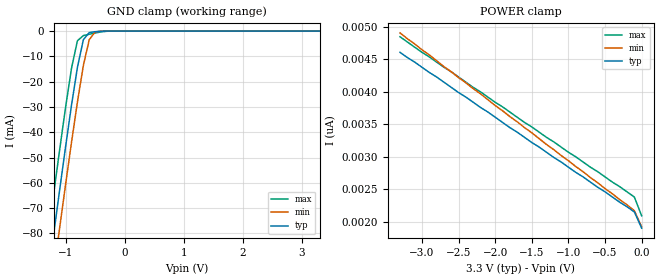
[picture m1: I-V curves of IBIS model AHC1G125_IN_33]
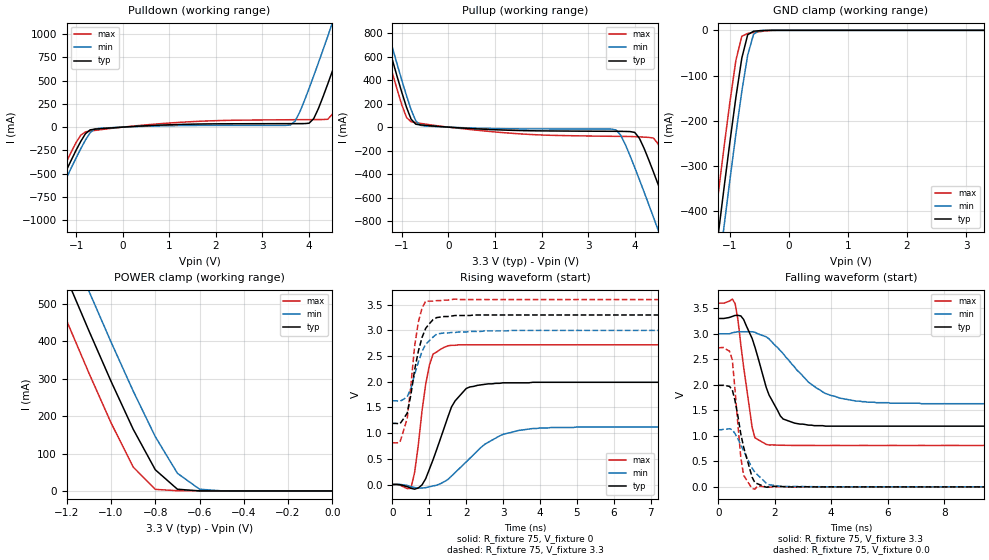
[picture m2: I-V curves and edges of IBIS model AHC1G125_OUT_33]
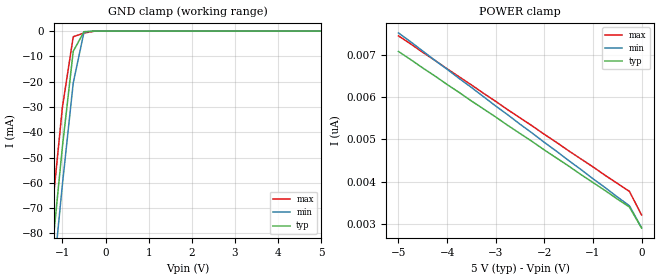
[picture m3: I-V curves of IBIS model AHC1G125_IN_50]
| TEXAS INSTRUMENTS INCORPORATED
| Standard Linear and Logic Group
| IBIS Model of SN74AHC1G125
| SINGLE BUS BUFFER GATE WITH 3-STATE OUTPUTS
| SOT 5-pin (DCK) and SOT 5-pin (DBV) Package
[IBIS Ver]   3.2
[Comment Char]  |_char
[File Name]   ahc1g125.ibs
[File Rev]   2.0 H_die
[Date]   May 24, 2000
[Source]   Data created from HSPICE simulations at TI-SLL.
[Notes]   The following is an IBIS list for the AHC1G125.
|   Please contact sllibis@ti.com with questions and
|   comments concerning SLL IBIS models.
[Disclaimer] Property of Texas Instruments Incorporated.  Unauthorized
                reproduction and/or distribution is strictly prohibited.
                This product is protected under copyright law.
                Created 2000, (C) Copyright 2000, Texas Instruments Inc.,
                All Rights Reserved.
                UNLESS THERE IS A SIGNED, WRITTEN AGREEMENT TO THE
                CONTRARY, TEXAS INSTRUMENTS () IS PROVIDING THE IBIS
                MODELS  AND WITHOUT ANY WARRANTY, EXPRESSED OR
                IMPLIED.  TI assumes no liability for:
                 1) the accuracy of the IBIS models provided to your
                    company;
                 2) the proper functioning of these IBIS Models in your
                    design or for any resulting applications; or
                 3) infringement of patents, copyrights or intellectual
                    property rights resulting from your use of these IBIS
                    models.
                TI provides IBIS Models as a service to our customers.
                You and your company shall not distribute, sell or give
                these models to anyone else without prior written
                permission from TI.
                TI reserves the right to make changes to our products or
                to discontinue any semiconductor product or service
                without notice, and advises our customers to obtain the
                latest version of relevant information to verify, before
                placing orders, that the information being relied on is
                current.
                Please be aware that your receipt and use of the IBIS
                information provided shall serve as acceptance of these
                terms and conditions.  If you do not accept these terms,
                you should return or destroy the IBIS models and any
                other accompanying information immediately.
|   Component AHC1G125_DCK
[Component]   AHC1G125_DCK
[Manufacturer]  Texas Instruments, Inc.
[Package]
|   typ   min   max
R_pkg   0.020   0.017   0.025
L_pkg   0.998nH   0.881nH   1.069nH
C_pkg   0.146pF   0.118pF   0.205pF
[Pin]   signal_name   model_name   R_pin   L_pin   C_pin
1   OE_NOT   AHC1G125_IN   0.019   1.069nH   0.162pF
2   A   AHC1G125_IN   0.018   0.881nH   0.121pF
3   GND   GND   0.017   1.031nH   0.205pF
4   Y   AHC1G125_OUT   0.020   0.960nH   0.124pF
5   VCC   POWER   0.025   1.049nH   0.118pF
|   Component AHC1G125_DBV
[Component]   AHC1G125_DBV
[Manufacturer]  Texas Instruments, Inc.
[Package]
|   typ   min   max
R_pkg   0.025   0.021   0.029
L_pkg   1.529nH   1.312nH   1.906nH
C_pkg   0.156pF   0.110pF   0.240pF
[Pin]   signal_name   model_name   R_pin   L_pin   C_pin
1   OE_NOT   AHC1G125_IN   0.021   1.511nH   0.144pF
2   A   AHC1G125_IN   0.023   1.312nH   0.138pF
3   GND   GND   0.029   1.906nH   0.240pF
4   Y   AHC1G125_OUT   0.026   1.541nH   0.150pF
5   VCC   POWER   0.025   1.374nH   0.110pF
[Model Selector]   AHC1G125_IN
AHC1G125_IN_33   3.3-V Vcc Input Model
AHC1G125_IN_50   5.0-V Vcc Input Model
[Model Selector]   AHC1G125_OUT
AHC1G125_OUT_33   3.3-V Vcc Output Model
AHC1G125_OUT_50   5.0-V Vcc Output Model
| Models and submodels in the file (4): AHC1G125_IN_33 (Input), AHC1G125_OUT_33 (3-state), AHC1G125_IN_50 (Input), AHC1G125_OUT_50 (3-state)
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|   Model AHC1G125_IN_33
[Model]   AHC1G125_IN_33
Model_type  Input
Polarity   Inverting
Vinl = 0.99
Vinh = 2.31
| variable   typ   min   max
C_comp   1.28pf   0.96pf   1.60pf
[Temperature Range]   25   85   -40
[Voltage Range]   3.3   3.0   3.6
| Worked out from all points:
|   GND clamp passes 1 mA (typ) near -0.61 V on its own axis
[GND Clamp]
|   Voltage   I(typ)   I(min)   I(max)
-3.3V     -460mA     -475mA     -445mA
-1.3V     -97.5mA    -113mA     -81.5mA
-1.2V     -79.9mA    -95mA      -63.9mA
-1.1V     -62.6mA    -77.6mA    -46.7mA
-1V       -45.6mA    -60.5mA    -30mA
-900mV    -29.2mA    -43.9mA    -14.6mA
-800mV    -14.3mA    -28mA      -3.81mA
-700mV    -3.42mA    -13.6mA    -1.78mA
-600mV    -581uA     -3.4mA     -1.25mA
-500mV    -233uA     -353uA     -759uA
-400mV    -58.1uA    -21.9uA    -324uA
3.3V      1.9nA      2.34nA     1.69nA
[POWER Clamp]
|   Voltage   I(typ)   I(min)   I(max)
-3.3V     4.61nA     4.91nA     4.85nA
-3V       4.38nA     4.65nA     4.61nA
-100mV    2.15nA     2.17nA     2.38nA
0V        1.9nA      1.92nA     2.09nA
|   Model AHC1G125_OUT_33
[Model]   AHC1G125_OUT_33
Model_type  3-state
Polarity   Non-Inverting
Enable   Active-Low
Vmeas = 1.65v
Cref = 15pf
| variable   typ   min   max
C_comp   4.1pf   3.075pf   5.125pf
[Temperature Range]   25   85   -40
[Voltage Range]   3.3   3.0   3.6
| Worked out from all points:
|   slope of the pulldown table from 0 to 0.495 V, typ, clamps not added: 34.2 ohm
|   slope of the pullup table from 0 to 0.495 V, typ, clamps not added: 40.6 ohm
|   GND clamp passes 1 mA (typ) near -0.51 V on its own axis
|   POWER clamp passes 1 mA (typ) near -0.62 V on its own axis
|   rising waveform, R_fixture 75, V_fixture 0: 20-80 % time 614ps typ, 1.09ns min, 303ps max; typ from 0 V to 1.99 V
|   falling waveform, R_fixture 75, V_fixture 3.3: 20-80 % time 769ps typ, 1.48ns min, 403ps max; typ from 3.3 V to 1.19 V
|   rising waveform, R_fixture 75, V_fixture 3.3: 20-80 % time 348ps typ, 385ps min, 263ps max; typ from 1.19 V to 3.3 V
|   falling waveform, R_fixture 75, V_fixture 0.0: 20-80 % time 465ps typ, 680ps min, 260ps max; typ from 1.99 V to 0 V
[Pulldown]
|   Voltage   I(typ)   I(min)   I(max)
-3.3V     -2.76A     -2.84A     -2.68A
-1.9V     -1.21A     -1.29A     -1.12A
-1.7V     -992mA     -1.08A     -904mA
-1V       -248mA     -331mA     -165mA
-700mV    -29.6mA    -61mA      -42.3mA
3.6V      37.5mA     22.9mA     79.4mA
4.1V      91.1mA     550mA      80.8mA
4.4V      461mA      972mA      84.5mA
4.5V      600mA      1.12A      137mA
4.8V      1.03A      1.55A      524mA
5.2V      1.61A      2.13A      1.1A
6.6V      3.67A      4.2A       3.16A
[Pullup]
|   Voltage   I(typ)   I(min)   I(max)
-3.3V     3.64A      3.74A      3.54A
-1.5V     996mA      1.1A       885mA
-1.4V     852mA      957mA      741mA
-1.3V     710mA      815mA      598mA
-900mV    170mA      269mA      82.8mA
-600mV    19.1mA     15.4mA     32.3mA
3.6V      -35.5mA    -24.1mA    -78.3mA
4V        -44.9mA    -344mA     -81mA
4.4V      -380mA     -765mA     -92.5mA
4.8V      -806mA     -1.2A      -435mA
5.2V      -1.24A     -1.64A     -866mA
6.6V      -2.79A     -3.19A     -2.42A
[GND Clamp]
|   Voltage   I(typ)   I(min)   I(max)
-3.3V     -2.76A     -2.84A     -2.68A
-1.3V     -558mA     -643mA     -468mA
-1.2V     -452mA     -537mA     -362mA
-1.1V     -347mA     -432mA     -257mA
-1V       -245mA     -329mA     -157mA
-900mV    -148mA     -229mA     -66.2mA
-800mV    -61.5mA    -135mA     -13.1mA
-700mV    -9.75mA    -54.6mA    -6.84mA
-600mV    -1.91mA    -8.48mA    -4.82mA
-500mV    -878uA     -589uA     -2.99mA
-200mV    -920pA     -24.7nA    -5.31uA
3.3V      1.32nA     308nA      1.26nA
[POWER Clamp]
|   Voltage   I(typ)   I(min)   I(max)
-3.3V     3.64A      3.74A      3.54A
-1.3V     708mA      814mA      595mA
-1.2V     567mA      673mA      454mA
-1.1V     428mA      534mA      315mA
-1V       293mA      398mA      182mA
-900mV    165mA      267mA      63.9mA
-800mV    56.5mA     145mA      4.16mA
-700mV    4.52mA     47.1mA     563uA
-600mV    121uA      4.61mA     211uA
-500mV    2.09uA     199uA      42uA
0V        1.32nA     1.31nA     1.44nA
[Ramp]
| variable   typ   min   max
dV/dt_r   1.20E+00/6.25E-10   6.91E-01/1.11E-09   1.66E+00/3.26E-10
dV/dt_f   1.31E+00/7.20E-10   8.46E-01/1.50E-09   1.72E+00/3.88E-10
R_load = 75
[Rising Waveform]
R_fixture = 75
V_fixture = 0
|   Time   V(typ)   V(min)   V(max)
0s        0V         0V         0V
500ps     -73.1mV    -40.9mV    -73mV
600ps     -90.3mV    -59.7mV    235mV
800ps     -8.39mV    -68.3mV    1.43V
1ns       298mV      -44.4mV    2.32V
1.5ns     1.31V      96mV       2.7V
2.1ns     1.9V       512mV      2.72V
3ns       1.98V      978mV      2.72V
4ns       1.99V      1.1V       2.72V
25ns      1.99V      1.12V      2.72V
[Falling Waveform]
R_fixture = 75
V_fixture = 3.3
V_fixture_min = 3.0
V_fixture_max = 3.6
|   Time   V(typ)   V(min)   V(max)
0s        3.3V       3V         3.6V
600ps     3.36V      3.03V      3.59V
1.2ns     2.91V      3.04V      1.17V
1.3ns     2.74V      3.03V      962mV
1.8ns     1.8V       2.9V       820mV
2.2ns     1.39V      2.67V      816mV
2.7ns     1.25V      2.35V      813mV
3.7ns     1.2V       1.86V      812mV
4.9ns     1.19V      1.68V      812mV
25ns      1.19V      1.63V      812mV
[Rising Waveform]
R_fixture = 75
V_fixture = 3.3
V_fixture_min = 3.0
V_fixture_max = 3.6
|   Time   V(typ)   V(min)   V(max)
0s        1.19V      1.63V      812mV
200ps     1.18V      1.62V      818mV
400ps     1.39V      1.71V      1.29V
600ps     2.23V      2.14V      2.69V
700ps     2.59V      2.38V      3.16V
800ps     2.86V      2.59V      3.43V
900ps     3.04V      2.73V      3.57V
1.2ns     3.25V      2.93V      3.58V
2.2ns     3.3V       2.98V      3.6V
25ns      3.3V       3V         3.6V
[Falling Waveform]
R_fixture = 75
V_fixture = 0.0
|   Time   V(typ)   V(min)   V(max)
0s        1.99V      1.12V      2.72V
400ps     1.97V      1.14V      2.66V
500ps     1.9V       1.12V      2.49V
800ps     1.04V      820mV      581mV
900ps     779mV      705mV      229mV
1.2ns     191mV      369mV      -33.5mV
1.3ns     81.6mV     287mV      -44.3mV
1.7ns     -6.05mV    73.1mV     -7.24mV
2.3ns     5.04mV     8.95mV     5.43mV
25ns      0V         0V         0V
|   Model AHC1G125_IN_50
[Model]   AHC1G125_IN_50
Model_type  Input
Polarity   Inverting
Vinl = 1.5
Vinh = 3.5
| variable   typ   min   max
C_comp   1.28pf   0.96pf   1.60pf
[Temperature Range]   25   85   -40
[Voltage Range]   5.0   4.5   5.5
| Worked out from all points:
|   GND clamp passes 1 mA (typ) near -0.52 V on its own axis
[GND Clamp]
|   Voltage   I(typ)   I(min)   I(max)
-5V       -773mA     -786mA     -758mA
-1.5V     -133mA     -148mA     -117mA
-1.25V    -88.7mA    -104mA     -72.7mA
-1V       -45.6mA    -60.5mA    -30mA
-750mV    -7.99mA    -20.5mA    -2.23mA
-500mV    -233uA     -353uA     -759uA
-250mV    -2.63nA    -182nA     -26.9uA
5V        2.9nA      3.64nA     2.54nA
[POWER Clamp]
|   Voltage   I(typ)   I(min)   I(max)
-5V       7.08nA     7.52nA     7.45nA
-1.5V     4.37nA     4.5nA      4.73nA
-250mV    3.4nA      3.43nA     3.77nA
0V        2.9nA      2.91nA     3.21nA
